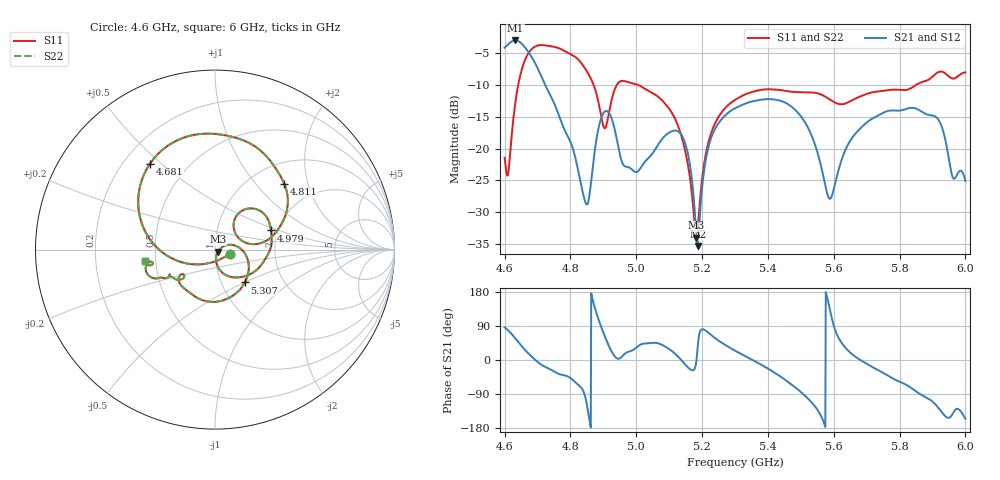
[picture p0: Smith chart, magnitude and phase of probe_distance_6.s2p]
! TOUCHSTONE file generated by CST MICROWAVE STUDIO
! Date and time: Sat Nov 30 13:10:57 2024
! Project name: test_tuning.cst
! Parameters = {airCoaxOuterDiameter=3; chamferAngle=45; chamferWidth=24; connectorLength=10; drillingHoleDiameter=4.1; feedLength=60; flareDiameter=130; flareLength=70; gratingDistance=0; gratingGap=1.90274; outletLength=30; polarizerLength=134; probe1Diameter=1.3; probe1Distance=10.5; probe1Length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
! Header version: 2024
! Port assignment regex: !\s*Touchstone port\s*([0-9]+)\s*=\s*(CST MWS port|CST DES external port|CST DES block port)\s*(.+)\s* \(\"(.*)\"\)(\s*mode\s*([0-9]+))?.*
! Touchstone port assignment:
! Touchstone port 1 = CST MWS port 1 ("Input1")
! Touchstone port 2 = CST MWS port 2 ("Input2")
# GHz S MA R 50
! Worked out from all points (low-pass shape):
!   1001 points, 4.6 GHz to 6 GHz, reference 50 ohm
!   highest |S21| = -3.02 dB at 4.632 GHz (marker M1); lowest = -35.3 dB at 5.187 GHz (marker M2)
!   |S21| within 3 dB of the highest: start of sweep to 4.687 GHz
!   lowest |S11| = -34.0 dB at 5.182 GHz (marker M3), VSWR 1.04, Z = 51.7 - j1.12 ohm
!   |S11| at or under -10 dB: start of sweep to 4.641 GHz; 4.87 GHz to 4.941 GHz (70.76 MHz wide, 1.44 % of centre); 5.005 GHz to 5.85 GHz (845.8 MHz wide, 15.6 % of centre)
!   |S22| runs from -34.0 to -3.7 dB; largest |S21 - S12| = 4e-07
!   S11 on the Smith chart (normalised r, x): 4.6 GHz: 1.17, -0.06; 4.681 GHz: 0.31, +0.46; 4.811 GHz: 1.41, +1.43; 4.979 GHz: 1.84, +0.44; 5.307 GHz: 1.29, -0.50; 6 GHz: 0.43, -0.06
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4.6  0.08472 -17.1  0.6196 86.1  0.6196 86.1  0.08472 -17.1
4.6322  0.2251 -164.8  0.706 57.4  0.706 57.4  0.2251 -164.8
4.6812  0.5993 127.3  0.5281 9.7  0.5281 9.7  0.5993 127.3
4.7302  0.6421 87.6  0.29 -21.0  0.29 -21.0  0.6421 87.6
4.8114  0.5315 43.3  0.09194 -55.9  0.09194 -55.9  0.5315 43.3
4.8338  0.4661 30.1  0.04994 -74.1  0.04994 -74.1  0.4661 30.1
4.8534  0.3897 20.2  0.03743 -135.1  0.03743 -135.1  0.3897 20.2
4.9066  0.1459 39.3  0.1968 57.7  0.1968 57.7  0.1459 39.3
4.9794  0.3295 18.9  0.07083 22.6  0.07083 22.6  0.3295 18.9
5.0676  0.2538 -28.2  0.1084 43.8  0.1084 43.8  0.2538 -28.2
5.1432  0.1101 -78.1  0.1197 -6.5  0.1197 -6.5  0.1101 -78.1
5.1824  0.01993 -32.9  0.0206 -4.2  0.0206 -4.2  0.01993 -32.9
5.1866  0.02328 -3.4  0.01711 33.6  0.01711 33.6  0.02328 -3.4
5.2244  0.1246 8.1  0.1143 68.4  0.1143 68.4  0.1246 8.1
5.3  0.2407 -43.8  0.2071 24.6  0.2071 24.6  0.2407 -43.8
5.307  0.2471 -47.8  0.2115 21.3  0.2115 21.3  0.2471 -47.8
5.5338  0.2754 -132.4  0.1245 -112.8  0.1245 -112.8  0.2754 -132.4
5.5898  0.241 -143.7  0.04047 126.9  0.04047 126.9  0.241 -143.7
5.6542  0.2381 -137.9  0.1196 16.4  0.1196 16.4  0.2381 -137.9
5.7676  0.2881 -148.7  0.1981 -42.9  0.1981 -42.9  0.2881 -148.7
5.9118  0.3896 -156.9  0.1757 -120.0  0.1757 -120.0  0.3896 -156.9
6  0.3966 -170.9  0.05556 -155.1  0.05556 -155.1  0.3966 -170.9
